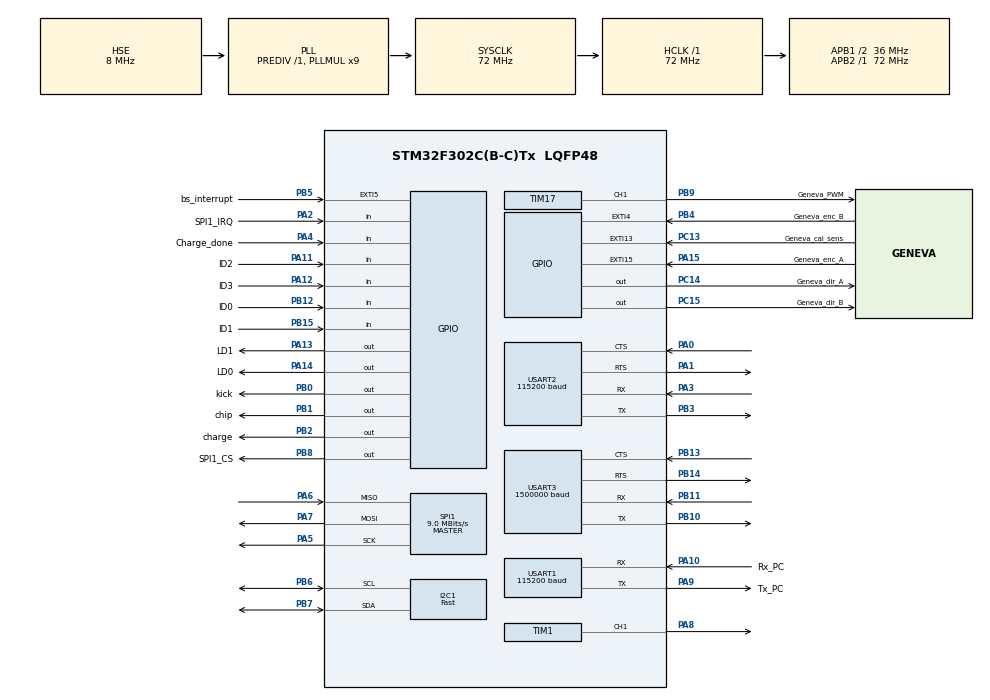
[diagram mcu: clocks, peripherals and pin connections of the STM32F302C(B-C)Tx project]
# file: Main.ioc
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I2C1.I2C_Speed_Mode=I2C_Fast
I2C1.Timing=0x00702681
Mcu.Family=STM32F3
Mcu.Name=STM32F302C(B-C)Tx
Mcu.Package=LQFP48
NVIC.I2C1_ER_IRQn=true\:0\:0\:false\:false\:true\:true
NVIC.I2C1_EV_IRQn=true\:0\:0\:false\:false\:true\:true
NVIC.PriorityGroup=NVIC_PRIORITYGROUP_4
NVIC.SPI1_IRQn=true\:0\:0\:false\:false\:true\:true
NVIC.TIM6_DAC_IRQn=true\:0\:0\:false\:false\:true\:true
NVIC.USART1_IRQn=true\:0\:0\:false\:false\:true\:true
NVIC.USART2_IRQn=true\:0\:0\:false\:false\:true\:true
NVIC.USART3_IRQn=true\:0\:0\:false\:false\:true\:true
PA0.Mode=CTS_RTS
PA0.Signal=USART2_CTS
PA1.Mode=CTS_RTS
PA1.Signal=USART2_RTS
PA10.GPIO_Label=Rx_PC
PA10.Mode=Asynchronous
PA10.Signal=USART1_RX
PA11.GPIO_Label=ID2
PA11.Signal=GPIO_Input
PA12.GPIO_Label=ID3
PA12.Signal=GPIO_Input
PA13.GPIO_Label=LD1
PA13.Signal=GPIO_Output
PA14.GPIO_Label=LD0
PA14.Signal=GPIO_Output
PA15.GPIO_Label=Geneva_enc_A
PA15.Signal=GPXTI15
PA2.GPIO_Label=SPI1_IRQ
PA2.Signal=GPIO_Input
PA3.Mode=Asynchronous
PA3.Signal=USART2_RX
PA4.GPIO_Label=Charge_done
PA4.Signal=GPIO_Input
PA5.Mode=Full_Duplex_Master
PA5.Signal=SPI1_SCK
PA6.Mode=Full_Duplex_Master
PA6.Signal=SPI1_MISO
PA7.Mode=Full_Duplex_Master
PA7.Signal=SPI1_MOSI
PA8.Signal=S_TIM1_CH1
PA9.GPIO_Label=Tx_PC
PA9.Mode=Asynchronous
PA9.Signal=USART1_TX
PB0.GPIO_Label=kick
PB0.Signal=GPIO_Output
PB1.GPIO_Label=chip
PB1.Signal=GPIO_Output
PB10.Mode=Asynchronous
PB10.Signal=USART3_TX
PB11.Mode=Asynchronous
PB11.Signal=USART3_RX
PB12.GPIO_Label=ID0
PB12.Signal=GPIO_Input
PB13.Mode=CTS_RTS
PB13.Signal=USART3_CTS
PB14.Mode=CTS_RTS
PB14.Signal=USART3_RTS
PB15.GPIO_Label=ID1
PB15.Signal=GPIO_Input
PB2.GPIO_Label=charge
PB2.Signal=GPIO_Output
PB3.Mode=Asynchronous
PB3.Signal=USART2_TX
PB4.GPIO_Label=Geneva_enc_B
PB4.Signal=GPXTI4
PB5.GPIO_Label=bs_interrupt
PB5.Signal=GPXTI5
PB6.Mode=I2C
PB6.Signal=I2C1_SCL
PB7.Mode=I2C
PB7.Signal=I2C1_SDA
PB8.GPIO_Label=SPI1_CS
PB8.Signal=GPIO_Output
PB9.GPIO_Label=Geneva_PWM
PB9.Signal=S_TIM17_CH1
PC13.GPIO_Label=Geneva_cal_sens
PC13.Signal=GPXTI13
PC14-OSC32_IN.GPIO_Label=Geneva_dir_A
PC14-OSC32_IN.Signal=GPIO_Output
PC15-OSC32_OUT.GPIO_Label=Geneva_dir_B
PC15-OSC32_OUT.Signal=GPIO_Output
PF0-OSC_IN.Mode=HSE-External-Clock-Source
PF0-OSC_IN.Signal=RCC_OSC_IN
ProjectManager.HeapSize=0x200
ProjectManager.StackSize=0x400
ProjectManager.TargetToolchain=SW4STM32
RCC.AHBFreq_Value=72000000
RCC.APB1CLKDivider=RCC_HCLK_DIV2
RCC.APB1Freq_Value=36000000
RCC.APB1TimFreq_Value=72000000
RCC.APB2Freq_Value=72000000
RCC.APB2TimFreq_Value=72000000
RCC.CortexFreq_Value=72000000
RCC.FLatency=FLASH_LATENCY_2
RCC.HCLKFreq_Value=72000000
RCC.HSE_Timout=1000
RCC.HSE_VALUE=8000000
RCC.HSI_VALUE=8000000
RCC.I2c1ClockSelection=RCC_I2C1CLKSOURCE_SYSCLK
RCC.LSE_VALUE=32768
RCC.PLLMUL=RCC_PLL_MUL9
RCC.PLLSourceVirtual=RCC_PLLSOURCE_HSE
RCC.SYSCLKFreq_VALUE=72000000
RCC.SYSCLKSourceVirtual=RCC_SYSCLKSOURCE_PLLCLK
RCC.USBFreq_Value=72000000
SH.S_TIM17_CH1.0=TIM17_CH1,PWM Generation1 CH1
SH.S_TIM1_CH1.0=TIM1_CH1,PWM Generation1 CH1
SPI1.BaudRatePrescaler=SPI_BAUDRATEPRESCALER_8
SPI1.CalculateBaudRate=9.0 MBits/s
SPI1.DataSize=SPI_DATASIZE_8BIT
SPI1.Direction=SPI_DIRECTION_2LINES
SPI1.Mode=SPI_MODE_MASTER
SPI1.VirtualType=VM_MASTER
TIM1.Channel-PWM\ Generation1\ CH1=TIM_CHANNEL_1
TIM1.Period=2400
TIM17.Channel=TIM_CHANNEL_1
TIM17.Period=2400
TIM6.Period=10000
TIM6.Prescaler=63
USART1.BaudRate=115200
USART1.SwapParam=ADVFEATURE_SWAP_ENABLE
USART1.VirtualMode-Asynchronous=VM_ASYNC
USART2.BaudRate=115200
USART2.VirtualMode-Asynchronous=VM_ASYNC
USART3.BaudRate=1500000
USART3.VirtualMode-Asynchronous=VM_ASYNC
VP_TIM17_VS_ClockSourceINT.Mode=Enable_Timer
VP_TIM6_VS_ClockSourceINT.Mode=Enable_Timer
board=Main

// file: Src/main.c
/**
  ******************************************************************************
  * @file           : main.c
  * @brief          : Main program body
  ******************************************************************************
  ** This notice applies to any and all portions of this file
  * that are not between comment pairs USER CODE BEGIN and
  * USER CODE END. Other portions of this file, whether
  * inserted by the user or by software development tools
  * are owned by their respective copyright owners.
  *
  * COPYRIGHT(c) 2018 STMicroelectronics
  *
  * Redistribution and use in source and binary forms, with or without modification,
  * are permitted provided that the following conditions are met:
  *   1. Redistributions of source code must retain the above copyright notice,
  *      this list of conditions and the following disclaimer.
  *   2. Redistributions in binary form must reproduce the above copyright notice,
  *      this list of conditions and the following disclaimer in the documentation
  *      and/or other materials provided with the distribution.
  *   3. Neither the name of STMicroelectronics nor the names of its contributors
  *      may be used to endorse or promote products derived from this software
  *      without specific prior written permission.
  *
  * THIS SOFTWARE IS PROVIDED BY THE COPYRIGHT HOLDERS AND CONTRIBUTORS "AS IS"
  * AND ANY EXPRESS OR IMPLIED WARRANTIES, INCLUDING, BUT NOT LIMITED TO, THE
  * IMPLIED WARRANTIES OF MERCHANTABILITY AND FITNESS FOR A PARTICULAR PURPOSE ARE
  * DISCLAIMED. IN NO EVENT SHALL THE COPYRIGHT HOLDER OR CONTRIBUTORS BE LIABLE
  * FOR ANY DIRECT, INDIRECT, INCIDENTAL, SPECIAL, EXEMPLARY, OR CONSEQUENTIAL
  * DAMAGES (INCLUDING, BUT NOT LIMITED TO, PROCUREMENT OF SUBSTITUTE GOODS OR
  * SERVICES; LOSS OF USE, DATA, OR PROFITS; OR BUSINESS INTERRUPTION) HOWEVER
  * CAUSED AND ON ANY THEORY OF LIABILITY, WHETHER IN CONTRACT, STRICT LIABILITY,
  * OR TORT (INCLUDING NEGLIGENCE OR OTHERWISE) ARISING IN ANY WAY OUT OF THE USE
  * OF THIS SOFTWARE, EVEN IF ADVISED OF THE POSSIBILITY OF SUCH DAMAGE.
  *
  ******************************************************************************
  */
#include "main.h"
#include "stm32f3xx_hal.h"
#include "i2c.h"
#include "spi.h"
#include "tim.h"
#include "usart.h"
#include "gpio.h"

/* USER CODE BEGIN Includes */
#include <stdlib.h>
#include <math.h>
#include "PuttyInterface/PuttyInterface.h"
#include "myNRF24.h"
#include "motorscomm/motorscomm.h"
#include "ID/ReadId.h"
#include <math.h>
>>>>>>> did some changes to the ioc
/* USER CODE END Includes */

/* USER CODE BEGIN PV */
/* Private variables ---------------------------------------------------------*/
PuttyInterfaceTypeDef puttystruct;
motorscomm_HandleTypeDef motorscommstruct = {
		/*.huart = &huart3*/
};

uint8_t address = -1;
uint8_t freqChannel = 78;

enum motorscomm_states{
	motorscomm_Initialize,
	motorscomm_Transmitting,
	motorscomm_Receiving,
	motorscomm_Failed
}motorscomm_state = motorscomm_Initialize;
int TX_err_count = 0;
int RX_err_count = 0;
int RX_count = 0;
int TX_count = 0;

#define DEBUG 					1
#define MAX_RAW_MESSAGE_SIZE 	2055

/* Buffer used for reception */

uint8_t stop_after_message_complete = 1;
uint8_t message_handled_flag = 0;
float speed_x, speed_y;
HAL_StatusTypeDef error_code;

uint while_cnt = 0;
uint while_cnt_cnt = 0;
uint while_avg = 0;

#define MAX_TIME_AFTER_LAST_MESSAGE 1000

const float _a0 = 60 * 3.1415/180.0; //240
const float _a1 = 120 * 3.1415/180.0; //300
const float _a2 = 240  * 3.1415/180.0; //60
const float _a3 = 300 * 3.1415/180.0; //120
#define _R   0.09f
#define _r   0.0275f
/* USER CODE END PV */

void SystemClock_Config(void);

/* USER CODE BEGIN PFP */
/* Private function prototypes -----------------------------------------------*/
void HandleCommand(char* input);

/* USER CODE END PFP */

int main(void)
{

  /* MCU Configuration----------------------------------------------------------*/

  /* Reset of all peripherals, Initializes the Flash interface and the Systick. */
  HAL_Init();

  /* Configure the system clock */
  SystemClock_Config();

  /* Initialize all configured peripherals */
  MX_GPIO_Init();
  MX_USART1_UART_Init();
  MX_TIM1_Init();
  MX_SPI1_Init();
  MX_USART2_UART_Init();
  MX_TIM17_Init();
  MX_TIM6_Init();
  MX_I2C1_Init();
  MX_USART3_UART_Init();
  /* USER CODE BEGIN 2 */
  address = ReadAddress();

  puttystruct.handle = HandleCommand;
  PuttyInterface_Init(&puttystruct);

  motorscommstruct.TX_message.id[0] = motorscomm_LF;
  motorscommstruct.TX_message.id[1] = motorscomm_LB;
  motorscommstruct.TX_message.id[2] = motorscomm_RB;
  motorscommstruct.TX_message.id[3] = motorscomm_RF;
  motorscommstruct.TX_message.wheel_speed[0] = 0.1F;
  motorscommstruct.TX_message.wheel_speed[1] = 0.5F;
  motorscommstruct.TX_message.wheel_speed[2] = 1.0F;
  motorscommstruct.TX_message.wheel_speed[3] = 2.0F;
  speed_x = 0;
  speed_y = 0;
  HAL_Delay(1000);
  initRobo(&hspi1, freqChannel, address);
  uint receptiontimer = 0xffff;
  dataPacket dataStruct;
  // enable UART transmission timer
  /* USER CODE END 2 */

  /* Infinite loop */
  /* USER CODE BEGIN WHILE */
  nssHigh(&hspi1);

  initRobo(&hspi1, freqChannel, address);
  dataPacket dataStruct;
  float cos_a0 = cos(_a0);
  float sin_a0 = sin(_a0);
  float cos_a1 = cos(_a1);
  float sin_a1 = sin(_a1);
  float cos_a2 = cos(_a2);
  float sin_a2 = sin(_a2);
  float cos_a3 = cos(_a3);
  float sin_a3 = sin(_a3);
  float wheelScalar = 1/_r;
  float wRadPerSec;
  float angularComponent;

  uint LastPackageTime = 0;

  uint led_timer = 0;
  while (1)
  {
	  if(irqRead(&hspi1)){
		  roboCallback(&hspi1, &dataStruct);
		  if(dataStruct.robotID == address){
			  HAL_GPIO_TogglePin(LD0_GPIO_Port, LD0_Pin);
			  float magnitude = dataStruct.robotVelocity / 1000; //from mm/s to m/s;
			  float direction = dataStruct.movingDirection * (2*M_PI/512);
			  uprintf("magnitude,direction [ %f, %f]\n\r", magnitude, direction );
			  float cosDir = cos(direction);
			  float sinDir = sin(direction);
			  float xComponent = cosDir*magnitude;
			  float yComponent = sinDir*magnitude;
			  uprintf("xComponent, yComponent [ %f, %f]\n\r", xComponent, yComponent );
			  float wRadPerSec;
			  float wheelScalar = 1/_r;
			  float angularComponent;
			  int rotSign;

			  if(dataStruct.rotationDirection != 0){
				  rotSign = -1;
			  }else{
				  rotSign = 1;
			  }

			  wRadPerSec = (dataStruct.angularVelocity/180.0)*PI;
			  angularComponent = rotSign*_R*wRadPerSec;

			  motorscommstruct.TX_message.wheel_speed[0] = ((-cos(_a0)*yComponent * 1.4 + sin(_a0)*xComponent + angularComponent)*wheelScalar)/(30*8);
			  motorscommstruct.TX_message.wheel_speed[1] = ((-cos(_a1)*yComponent * 1.4 + sin(_a1)*xComponent + angularComponent)*wheelScalar)/(30*8);
			  motorscommstruct.TX_message.wheel_speed[2] = ((-cos(_a2)*yComponent * 1.4 + sin(_a2)*xComponent + angularComponent)*wheelScalar)/(30*8);
			  motorscommstruct.TX_message.wheel_speed[3] = ((-cos(_a3)*yComponent * 1.4 + sin(_a3)*xComponent + angularComponent)*wheelScalar)/(30*8);
			  uprintf("send wheel speeds are [ %f, %f, %f, %f]\n\r", motorscommstruct.TX_message.wheel_speed[0], motorscommstruct.TX_message.wheel_speed[1],motorscommstruct.TX_message.wheel_speed[2],motorscommstruct.TX_message.wheel_speed[3]);
			  receptiontimer = HAL_GetTick();
		  }
	  }else if(HAL_GetTick() - MAX_TIME_AFTER_LAST_MESSAGE > receptiontimer){
		motorscommstruct.TX_message.wheel_speed[0] = 0;
		motorscommstruct.TX_message.wheel_speed[1] = 0;
		motorscommstruct.TX_message.wheel_speed[2] = 0;
		motorscommstruct.TX_message.wheel_speed[3] = 0;
	  }
	  while_cnt++;// counts how many times the while loop is passed
	  switch(motorscomm_state){
	  case motorscomm_Initialize:
		  uprintf("motorscomm_Initialize\n\r");
		  motorscomm_state = motorscomm_Receiving;
		  HAL_TIM_Base_Start_IT(&htim6);
		  break;
	  case motorscomm_Transmitting:
	  case motorscomm_Receiving:
		  if(motorscommstruct.UART2_Rx_flag){
			  motorscommstruct.UART2_Rx_flag = false;
			  motorscomm_DecodeBuf(&motorscommstruct);
		  }
		  break;
	  case motorscomm_Failed:
		  //HAL_GPIO_WritePin(LD0_GPIO_Port, LD0_Pin, 1);
		  break;
	  }

  /* USER CODE END WHILE */

  /* USER CODE BEGIN 3 */
	  PuttyInterface_Update(&puttystruct);
	  if(HAL_GetTick() > led_timer + 500 ){
		  led_timer = HAL_GetTick();
		  HAL_GPIO_TogglePin(LD1_GPIO_Port,LD1_Pin);
//		  uprintf("suc/err:TX[%d/%d];RX[%d/%d]\n\r", TX_count, TX_err_count, RX_count, RX_err_count);
//		  uprintf("Tx = [%f, %f, %f, %f]\n\r", motorscommstruct.TX_message.wheel_speed[0], motorscommstruct.TX_message.wheel_speed[1], motorscommstruct.TX_message.wheel_speed[2], motorscommstruct.TX_message.wheel_speed[3]);
//		  uint8_t* ptr = motorscommstruct.UART2RX_buf;
//		  uprintf("RX in hex[%02X%02X%02X%02X %02X%02X%02X%02X %02X%02X%02X%02X %02X%02X%02X%02X]\n\r", *(ptr++), *(ptr++), *(ptr++), *(ptr++), *(ptr++), *(ptr++), *(ptr++), *(ptr++), *(ptr++), *(ptr++), *(ptr++), *(ptr++), *(ptr++), *(ptr++), *(ptr++), *(ptr++));
//		  ptr = motorscommstruct.UART2TX_buf;
//		  uprintf("TX in hex[%02X%02X%02X%02X %02X%02X%02X%02X %02X%02X%02X%02X %02X%02X%02X%02X]\n\r", *(ptr++), *(ptr++), *(ptr++), *(ptr++), *(ptr++), *(ptr++), *(ptr++), *(ptr++), *(ptr++), *(ptr++), *(ptr++), *(ptr++), *(ptr++), *(ptr++), *(ptr++), *(ptr++));
//		  uprintf("avg n_whileloops = [%lu]\n\r", while_avg);
	  }
  }
  /* USER CODE END 3 */

}

void SystemClock_Config(void)
{

  RCC_OscInitTypeDef RCC_OscInitStruct;
  RCC_ClkInitTypeDef RCC_ClkInitStruct;
  RCC_PeriphCLKInitTypeDef PeriphClkInit;

    /**Initializes the CPU, AHB and APB busses clocks
    */
  RCC_OscInitStruct.OscillatorType = RCC_OSCILLATORTYPE_HSE;
  RCC_OscInitStruct.HSEState = RCC_HSE_BYPASS;
  RCC_OscInitStruct.HSEPredivValue = RCC_HSE_PREDIV_DIV1;
  RCC_OscInitStruct.HSIState = RCC_HSI_ON;
  RCC_OscInitStruct.PLL.PLLState = RCC_PLL_ON;
  RCC_OscInitStruct.PLL.PLLSource = RCC_PLLSOURCE_HSE;
  RCC_OscInitStruct.PLL.PLLMUL = RCC_PLL_MUL9;
  if (HAL_RCC_OscConfig(&RCC_OscInitStruct) != HAL_OK)
  {
    _Error_Handler(__FILE__, __LINE__);
  }

    /**Initializes the CPU, AHB and APB busses clocks
    */
  RCC_ClkInitStruct.ClockType = RCC_CLOCKTYPE_HCLK|RCC_CLOCKTYPE_SYSCLK
                              |RCC_CLOCKTYPE_PCLK1|RCC_CLOCKTYPE_PCLK2;
  RCC_ClkInitStruct.SYSCLKSource = RCC_SYSCLKSOURCE_PLLCLK;
  RCC_ClkInitStruct.AHBCLKDivider = RCC_SYSCLK_DIV1;
  RCC_ClkInitStruct.APB1CLKDivider = RCC_HCLK_DIV2;
  RCC_ClkInitStruct.APB2CLKDivider = RCC_HCLK_DIV1;

  if (HAL_RCC_ClockConfig(&RCC_ClkInitStruct, FLASH_LATENCY_2) != HAL_OK)
  {
    _Error_Handler(__FILE__, __LINE__);
  }

  PeriphClkInit.PeriphClockSelection = RCC_PERIPHCLK_USART1|RCC_PERIPHCLK_USART2
                              |RCC_PERIPHCLK_USART3|RCC_PERIPHCLK_I2C1
                              |RCC_PERIPHCLK_TIM1;
  PeriphClkInit.Usart1ClockSelection = RCC_USART1CLKSOURCE_PCLK2;
  PeriphClkInit.Usart2ClockSelection = RCC_USART2CLKSOURCE_PCLK1;
  PeriphClkInit.Usart3ClockSelection = RCC_USART3CLKSOURCE_PCLK1;
  PeriphClkInit.I2c1ClockSelection = RCC_I2C1CLKSOURCE_SYSCLK;
  PeriphClkInit.Tim1ClockSelection = RCC_TIM1CLK_HCLK;
  if (HAL_RCCEx_PeriphCLKConfig(&PeriphClkInit) != HAL_OK)
  {
    _Error_Handler(__FILE__, __LINE__);
  }

    /**Configure the Systick interrupt time
    */
  HAL_SYSTICK_Config(HAL_RCC_GetHCLKFreq()/1000);

    /**Configure the Systick
    */
  HAL_SYSTICK_CLKSourceConfig(SYSTICK_CLKSOURCE_HCLK);

  /* SysTick_IRQn interrupt configuration */
  HAL_NVIC_SetPriority(SysTick_IRQn, 0, 0);
}

/* USER CODE BEGIN 4 */

void HandleCommand(char* input){
	if(!strcmp(input, "start")){
		uprintf("started;>)\n\r");
	}else if(!strcmp(input, "stop")){
		uprintf("stopped\n\r");
	}else if(!strcmp(input, "address")){
		uprintf("address = [%d]\n\r", ReadAddress());
	}else if(!memcmp(input, "control", 7)){
		float duty = atof(input+ 8);
		for(uint i = 0; i < 4; i++){
			motorscommstruct.TX_message.wheel_speed[i] = duty;
		}
		uprintf("speed set to = [%f]\n\r", motorscommstruct.TX_message.wheel_speed[0]);
	}
}
void HAL_UART_RxCpltCallback(UART_HandleTypeDef *huart){
	if(huart->Instance == huart1.Instance){
		puttystruct.huart2_Rx_len = 1;
		puttystruct.small_buf[0] = *(huart->pRxBuffPtr-1);
	}else if(huart->Instance == huart3.Instance){
		if(motorscomm_state == motorscomm_Receiving){
			motorscommstruct.UART2_Rx_flag = true;
			RX_count++;
		}else{
			uprintf("motorscomm_Failed from HAL_UART_RxCpltCallback\n\r");
			motorscomm_state = motorscomm_Failed;
		}
	}

}

void HAL_UART_TxCpltCallback(UART_HandleTypeDef *huart){
	if(huart->Instance == huart3.Instance){
		if(motorscomm_Transmitting == motorscomm_state){
			error_code = motorscomm_HAL_UART_Receive(&motorscommstruct);
			if(error_code == HAL_OK){
			  // start read successful
			  motorscomm_state = motorscomm_Receiving;
			}else{
			  // transmission failed, trying again next while loop cycle
			  uprintf("receive failed with error code:[%d]\n\r", error_code);
			  motorscomm_state = motorscomm_Failed;
			}
			TX_count++;
		}else{
			uprintf("motorscomm_Failed from HAL_UART_TxCpltCallback\n\r");
			motorscomm_state = motorscomm_Failed;
		}
	}
}

void HAL_TIM_PeriodElapsedCallback(TIM_HandleTypeDef *htim) {
	if (htim->Instance == TIM6){
		while_cnt_cnt++;
		while_avg = ((while_avg * while_cnt_cnt - while_avg) + while_cnt)/while_cnt_cnt;
		while_cnt = 0;
		if (motorscomm_Receiving != motorscomm_state){
			TX_err_count++;
			uprintf("motorscomm_Failed from HAL_TIM_PeriodElapsedCallback; state = [%d]\n\r", motorscomm_state);
			motorscomm_state = motorscomm_Failed;
			return;
		}
		error_code = motorscomm_UART_StartTransmit(&motorscommstruct, 0);
		if(error_code == HAL_OK){
		  // transmission successful
		  motorscomm_state = motorscomm_Transmitting;
		}else{
		  // transmission failed, trying again next while loop cycle
		  uprintf("Transmit failed error code:[%d]\n\r", error_code);
		  motorscomm_state = motorscomm_Failed;
		  RX_err_count++;
		}
	}
}

/* USER CODE END 4 */

void _Error_Handler(char *file, int line)
{
  while(1)
  {
  }
}

/************************ (C) COPYRIGHT STMicroelectronics *****END OF FILE****/
